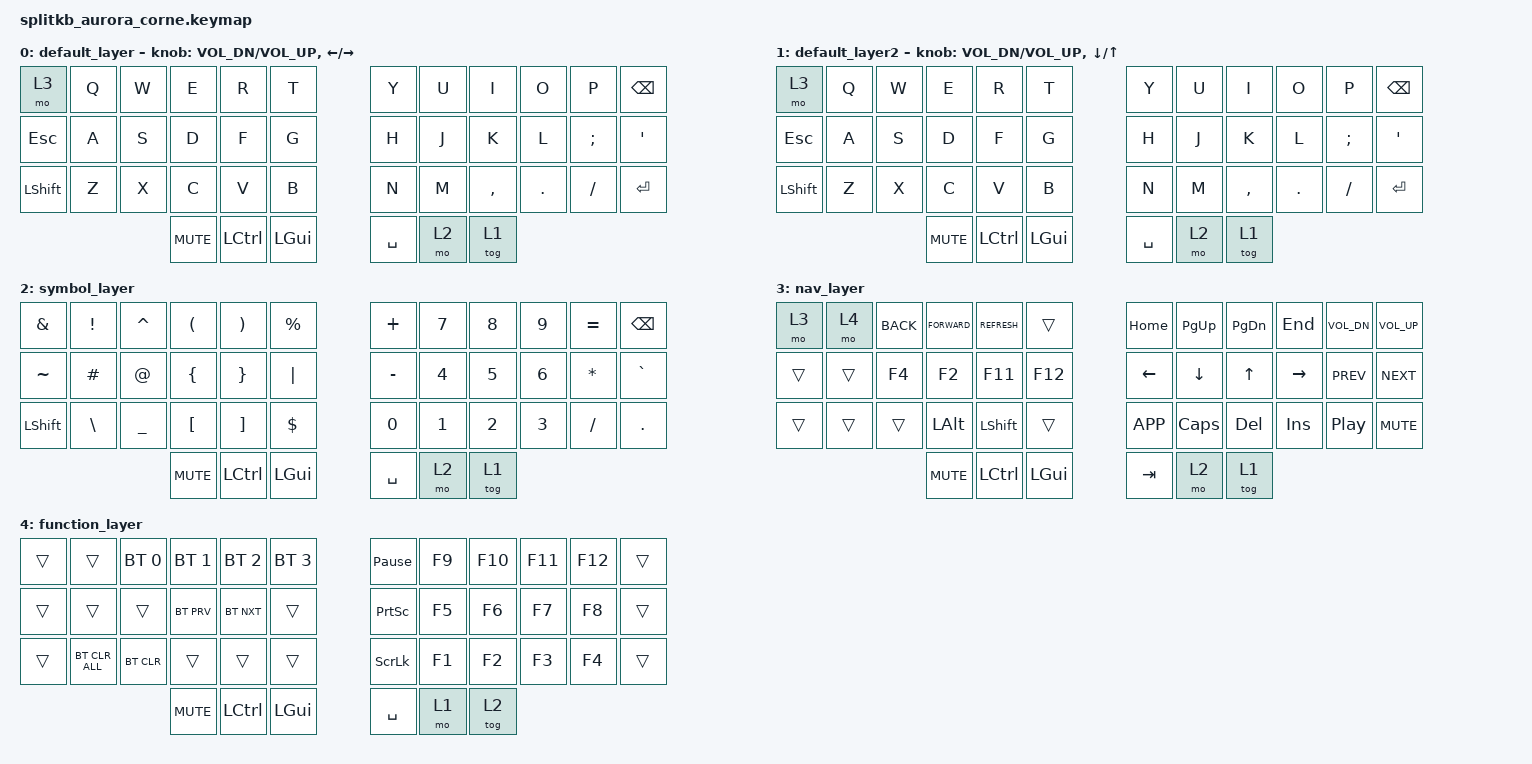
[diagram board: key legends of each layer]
/*
 * Copyright (c) 2020 The ZMK Contributors
 *
 * SPDX-License-Identifier: MIT
 */

#include <behaviors.dtsi>
#include <dt-bindings/zmk/keys.h>
#include <dt-bindings/zmk/bt.h>

/ {
    keymap {
      compatible = "zmk,keymap";

      default_layer {
        sensor-bindings = <&inc_dec_kp C_VOL_DN C_VOL_UP &inc_dec_kp LEFT RIGHT>;

        bindings = <
&mo 3       &kp Q   &kp W     &kp E       &kp R       &kp T       &kp Y       &kp U   &kp I       &kp O     &kp P       &kp BSPC
&kp ESC     &kp A   &kp S     &kp D       &kp F       &kp G       &kp H       &kp J   &kp K       &kp L     &kp SEMI    &kp SQT
&kp LSHFT   &kp Z   &kp X     &kp C       &kp V       &kp B       &kp N       &kp M   &kp COMMA   &kp DOT   &kp FSLH    &kp RET
                              &kp C_MUTE  &kp LCTRL   &kp LGUI    &kp SPACE   &mo 2   &tog 1
        >;
      };

      default_layer2 {
        sensor-bindings = <&inc_dec_kp C_VOL_DN C_VOL_UP &inc_dec_kp DOWN UP>;

        bindings = <
&mo 3       &kp Q   &kp W     &kp E       &kp R       &kp T       &kp Y       &kp U   &kp I       &kp O     &kp P       &kp BSPC
&kp ESC     &kp A   &kp S     &kp D       &kp F       &kp G       &kp H       &kp J   &kp K       &kp L     &kp SEMI    &kp SQT
&kp LSHFT   &kp Z   &kp X     &kp C       &kp V       &kp B       &kp N       &kp M   &kp COMMA   &kp DOT   &kp FSLH    &kp RET
                              &kp C_MUTE  &kp LCTRL   &kp LGUI    &kp SPACE   &mo 2   &tog 1
        >;
      };

      symbol_layer {
        bindings = <
&kp AMPS    &kp EXCL  &kp CARET   &kp LPAR    &kp RPAR    &kp PRCNT   &kp PLUS    &kp N7  &kp N8  &kp N9   &kp EQUAL  &kp BSPC
&kp TILDE   &kp HASH  &kp AT      &kp LBRC    &kp RBRC    &kp PIPE    &kp MINUS   &kp N4  &kp N5  &kp N6   &kp ASTRK  &kp GRAVE
&kp LSHFT   &kp BSLH  &kp UNDER   &kp LBKT    &kp RBKT    &kp DLLR    &kp N0      &kp N1  &kp N2  &kp N3   &kp FSLH   &kp DOT
                                  &kp C_MUTE  &kp LCTRL   &kp LGUI    &kp SPACE   &mo 2   &tog 1
        >;
      };

      nav_layer {
        bindings = <
&mo 3   &mo 4     &kp K_BACK  &kp K_FORWARD   &kp K_REFRESH   &trans    &kp HOME    &kp PG_UP   &kp PG_DN   &kp END     &kp C_VOL_DN      &kp C_VOL_UP
&trans  &trans    &kp F4      &kp F2          &kp F11         &kp F12   &kp LEFT    &kp DOWN    &kp UP      &kp RIGHT   &kp C_PREV        &kp C_NEXT
&trans  &trans    &trans      &kp LALT        &kp LSHFT       &trans    &kp K_APP   &kp CAPS    &kp DEL     &kp INS     &kp C_PLAY_PAUSE  &kp C_MUTE
                              &kp C_MUTE      &kp LCTRL       &kp LGUI  &kp TAB     &mo 2       &tog 1
        >;
      };

      function_layer {
        bindings = <
&trans  &trans          &bt BT_SEL 0  &bt BT_SEL 1  &bt BT_SEL 2  &bt BT_SEL 3  &kp PAUSE_BREAK   &kp F9    &kp F10   &kp F11   &kp F12   &trans
&trans  &trans          &trans        &bt BT_PRV    &bt BT_NXT    &trans        &kp PSCRN         &kp F5    &kp F6    &kp F7    &kp F8    &trans
&trans  &bt BT_CLR_ALL  &bt BT_CLR    &trans        &trans        &trans        &kp SLCK          &kp F1    &kp F2    &kp F3    &kp F4    &trans
                                      &kp C_MUTE    &kp LCTRL     &kp LGUI      &kp SPACE         &mo 1     &tog 2
        >;
      };
    };
};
